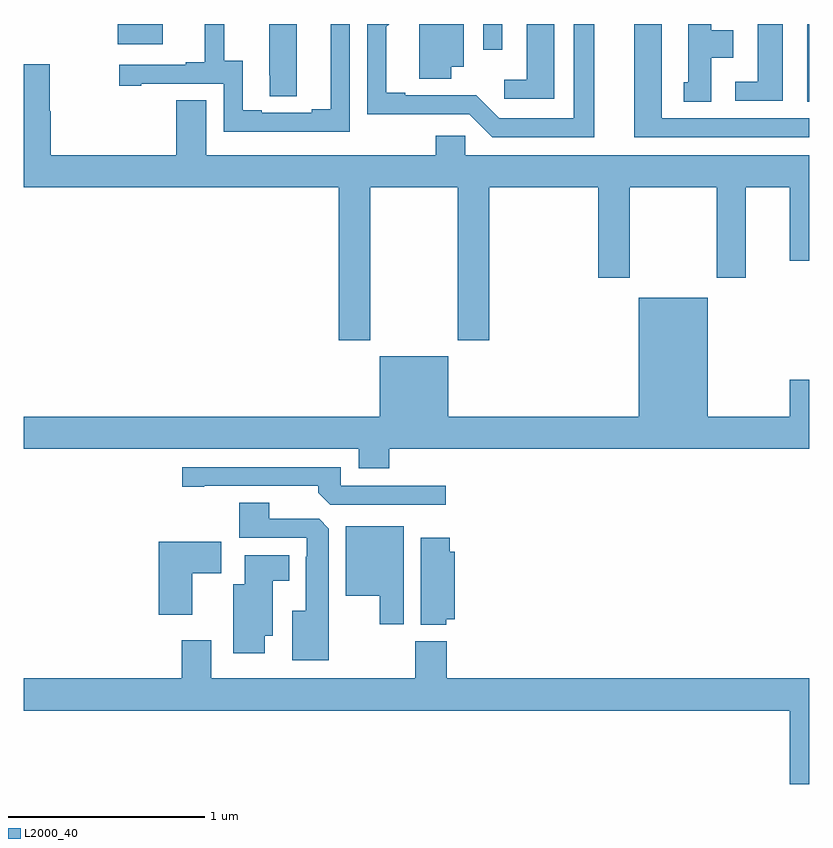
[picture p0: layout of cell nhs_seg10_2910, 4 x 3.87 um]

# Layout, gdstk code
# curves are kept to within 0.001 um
import gdstk
lib = gdstk.Library(unit=1e-6, precision=1e-09)
def R(c, l, rs):  # rectangles x0, y0, x1, y1
    for r in rs: c.add(gdstk.rectangle(r[:2], r[2:], *l))
def P(c, l, *ps):  # polygons
    for p in ps: c.add(gdstk.Polygon(p, *l))
L2000_40 = (2000, 40)

nhs_seg10_2910 = lib.new_cell('nhs_seg10_2910')
R(nhs_seg10_2910, L2000_40, [(272.99,1282.105,273,1282.5), (271.341,1282.368,271.437,1282.5), (269.48,1282.397,269.707,1282.5)])
P(nhs_seg10_2910, L2000_40, [(272.5,1282.328),(272.614,1282.328),(272.614,1282.468),(272.5,1282.468),(272.5,1282.5),(272.384,1282.5),(272.384,1282.203),(272.36,1282.203),(272.36,1282.105),(272.5,1282.105)],
  [(271.702,1282.5),(271.562,1282.5),(271.562,1282.216),(271.446,1282.216),(271.446,1282.119),(271.702,1282.119)],
  [(270.66,1282.5),(270.563,1282.5),(270.563,1282.067),(270.467,1282.067),(270.467,1282.047),(270.211,1282.047),(270.211,1282.062),(270.115,1282.062),(270.115,1282.313),(270.021,1282.313),(270.021,1282.5),(269.921,1282.5),(269.921,1282.306),(269.825,1282.306),(269.825,1282.293),(269.487,1282.293),(269.487,1282.185),(269.599,1282.185),(269.599,1282.197),(270.018,1282.197),(270.018,1281.951),(270.66,1281.951)],
  [(271.177,1282.283),(271.24,1282.283),(271.24,1282.5),(271.013,1282.5),(271.013,1282.222),(271.177,1282.222)],
  [(272.866,1282.5),(272.738,1282.5),(272.738,1282.206),(272.622,1282.206),(272.622,1282.11),(272.866,1282.11)],
  [(270.391,1282.5),(270.251,1282.5),(270.251,1282.24),(270.252,1282.24),(270.252,1282.132),(270.391,1282.132)],
  [(271.906,1282.5),(271.802,1282.5),(271.802,1282.02),(271.422,1282.02),(271.304,1282.138),(270.943,1282.137),(270.943,1282.15),(270.847,1282.15),(270.847,1282.486),(270.861,1282.5),(270.75,1282.5),(270.75,1282.04),(271.269,1282.041),(271.386,1281.924),(271.906,1281.924)],
  [(273,1282.02),(272.248,1282.02),(272.248,1282.5),(272.108,1282.5),(272.108,1281.924),(273,1281.924)],
  [(270.765,1281.668),(271.21,1281.668),(271.21,1280.889),(271.37,1280.889),(271.37,1281.668),(271.925,1281.668),(271.925,1281.207),(272.085,1281.207),(272.085,1281.668),(272.53,1281.668),(272.53,1281.207),(272.677,1281.207),(272.677,1281.668),(272.9,1281.668),(272.9,1281.294),(273,1281.294),(273,1281.832),(271.248,1281.832),(271.248,1281.93),(271.097,1281.93),(271.097,1281.832),(269.929,1281.832),(269.929,1282.112),(269.777,1282.112),(269.777,1281.832),(269.138,1281.832),(269.138,1282.055),(269.133,1282.055),(269.133,1282.294),(269,1282.294),(269,1281.668),(270.605,1281.668),(270.605,1280.889),(270.765,1280.889)],
  [(270.86,1280.336),(273,1280.336),(273,1280.689),(272.9,1280.689),(272.9,1280.5),(272.482,1280.5),(272.482,1281.106),(272.132,1281.106),(272.132,1280.5),(271.162,1280.5),(271.162,1280.809),(270.812,1280.809),(270.812,1280.5),(269,1280.5),(269,1280.336),(270.707,1280.336),(270.707,1280.237),(270.86,1280.237)],
  [(271.15,1280.148),(270.615,1280.148),(270.615,1280.244),(269.808,1280.244),(269.808,1280.143),(269.92,1280.143),(269.92,1280.148),(270.5,1280.148),(270.5,1280.114),(270.561,1280.052),(271.15,1280.052)],
  [(270.553,1279.931),(270.504,1279.98),(270.25,1279.98),(270.25,1280.063),(270.098,1280.063),(270.098,1279.884),(270.441,1279.884),(270.441,1279.787),(270.437,1279.787),(270.437,1279.513),(270.368,1279.513),(270.368,1279.259),(270.553,1279.259)],
  [(270.934,1279.942),(270.641,1279.942),(270.641,1279.589),(270.812,1279.589),(270.812,1279.443),(270.934,1279.443)],
  [(271.152,1279.469),(271.195,1279.469),(271.195,1279.813),(271.169,1279.813),(271.169,1279.885),(271.022,1279.885),(271.022,1279.442),(271.152,1279.442)],
  [(269.857,1279.702),(270.007,1279.702),(270.007,1279.864),(269.687,1279.864),(269.687,1279.491),(269.857,1279.491)],
  [(270.226,1279.385),(270.268,1279.385),(270.268,1279.664),(270.352,1279.664),(270.352,1279.795),(270.125,1279.795),(270.125,1279.648),(270.068,1279.648),(270.068,1279.296),(270.226,1279.296)],
  [(273,1279.168),(271.154,1279.168),(271.154,1279.357),(270.994,1279.357),(270.994,1279.168),(269.956,1279.168),(269.956,1279.363),(269.804,1279.363),(269.804,1279.168),(269,1279.168),(269,1279.004),(272.9,1279.004),(272.9,1278.63),(273,1278.63)])

lib.write_gds('nhs_seg10_2910.gds')
